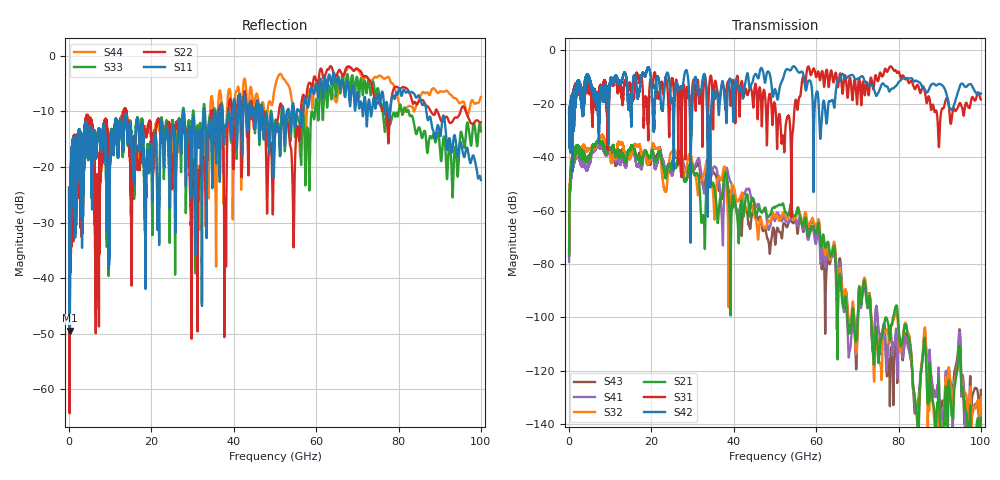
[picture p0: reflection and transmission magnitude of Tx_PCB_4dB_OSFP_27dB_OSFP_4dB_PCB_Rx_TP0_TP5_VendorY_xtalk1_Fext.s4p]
! Info: Touchstone file created by Circ.  Input file=Tx_PCB_4dB_OSFP_27dB_OSFP_4dB_PCB_Rx_TP0_TP5_VendorY.circ
# Hz S RI R 50
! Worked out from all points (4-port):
!   10000 points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, 10 MHz to 100 GHz, reference 50 ohm
!   strongest paths, dB at 10 MHz, 25.01 GHz, 50.01 GHz, 75.01 GHz, 100 GHz:
!     S42: -23.5, -18.6, -14.5, -16.2, -16.2
!     S31: -23.5, -10.4, -20.3, -11.6, -18.4
!     S21: -76.8, -45.1, -58.8, -115.5, -137.5
!     S32: -74.9, -38.0, -62.4, -112.9, -130.1
!     S41: -79.1, -46.8, -63.9, -102.9, -134.7
!     S43: -76.9, -42.0, -72.3, -103.4, -127.2
!   lowest |S11| = -49.4 dB at 130 MHz (marker M1), VSWR 1.01, Z = 50 - j0.336 ohm
!   |S11| at or under -10 dB: start of sweep to 27.69 GHz; 27.84 GHz to 32.67 GHz (4.828 GHz wide, 16 % of centre); 86.76 GHz to end of sweep (the widest 3 of 25)
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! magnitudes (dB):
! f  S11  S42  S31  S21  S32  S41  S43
! 10 MHz  -23.8  -23.5  -23.5  -76.8  -74.9  -79.1  -76.9
! 130 MHz  -49.4  -25.5  -25.6  -55.0  -53.0  -56.8  -54.9
! 1.84 GHz  -23.5  -15.1  -15.8  -35.7  -37.6  -37.3  -38.5
! 26.94 GHz  -12.8  -13.7  -14.0  -41.4  -44.3  -38.1  -38.6
! 32.58 GHz  -11.2  -9.7  -16.6  -62.0  -47.1  -51.5  -51.2
! 48.61 GHz  -17.3  -8.4  -16.6  -62.0  -63.9  -66.8  -73.7
! 100 GHz  -22.4  -16.2  -18.4  -137.5  -130.1  -134.7  -127.2
